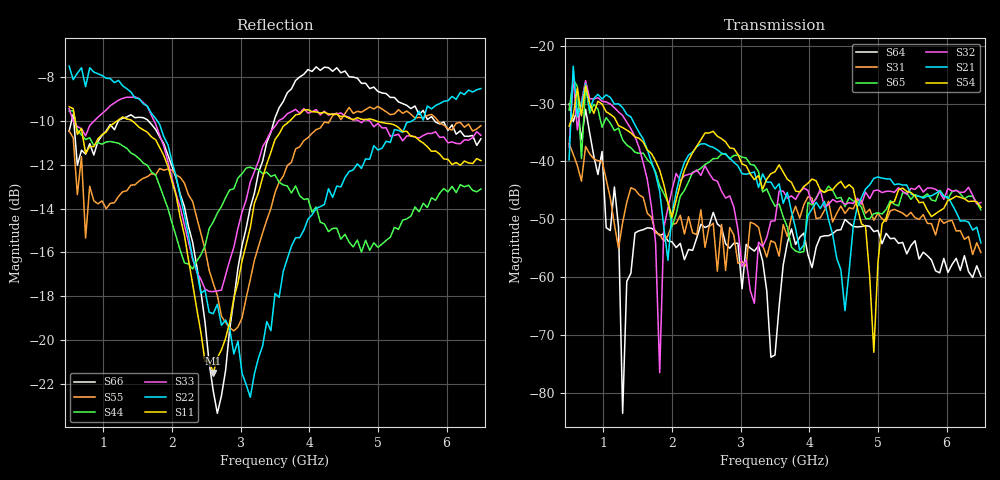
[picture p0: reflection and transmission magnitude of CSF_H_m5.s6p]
!Keysight Technologies,M9804A,MY58100912,A.14.10.03
!Date: Thursday, April 27, 2023 10:28:33
!Correction: S11(C  6-Port  )
!S12(C  6-Port  )
!S13(C  6-Port  )
!S14(C  6-Port  )
!S15(C  6-Port  )
!S16(C  6-Port  )
!S21(C  6-Port  )
!S22(C  6-Port  )
!S23(C  6-Port  )
!S24(C  6-Port  )
!S25(C  6-Port  )
!S26(C  6-Port  )
!S31(C  6-Port  )
!S32(C  6-Port  )
!S33(C  6-Port  )
!S34(C  6-Port  )
!S35(C  6-Port  )
!S36(C  6-Port  )
!S41(C  6-Port  )
!S42(C  6-Port  )
!S43(C  6-Port  )
!S44(C  6-Port  )
!S45(C  6-Port  )
!S46(C  6-Port  )
!S51(C  6-Port  )
!S52(C  6-Port  )
!S53(C  6-Port  )
!S54(C  6-Port  )
!S55(C  6-Port  )
!S56(C  6-Port  )
!S61(C  6-Port  )
!S62(C  6-Port  )
!S63(C  6-Port  )
!S64(C  6-Port  )
!S65(C  6-Port  )
!S66(C  6-Port  )
!S6P File: Measurement: :
# Hz S  RI  R 50
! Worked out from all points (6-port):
!   101 points, 500 MHz to 6.5 GHz, reference 50 ohm
!   strongest paths, dB at 500 MHz, 2 GHz, 3.5 GHz, 5 GHz, 6.5 GHz:
!     S54: -33.9, -49.6, -41.8, -57.5, -47.9
!     S21: -39.7, -49.0, -44.7, -42.7, -54.1
!     S32: -37.5, -44.9, -50.3, -44.9, -47.1
!     S65: -31.1, -51.2, -47.7, -48.9, -48.3
!     S31: -36.9, -50.9, -54.0, -49.0, -55.7
!     S64: -30.0, -53.9, -73.5, -51.9, -59.9
!   lowest |S11| = -21.5 dB at 2.6 GHz (marker M1), VSWR 1.18, Z = 42.5 + j2.17 ohm
!   |S11| at or under -10 dB: 588.8 MHz to 1.198 GHz (609.1 MHz wide, 68.2 % of centre); 1.421 GHz to 3.713 GHz (2.293 GHz wide, 89.3 % of centre); 4.978 GHz to end of sweep
